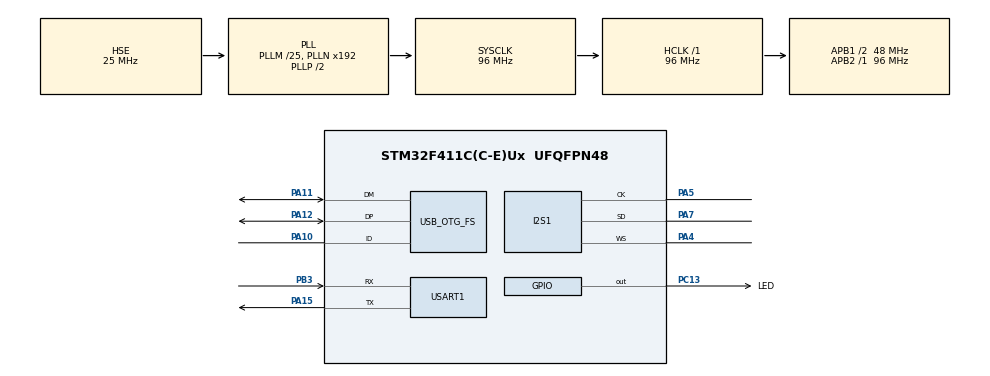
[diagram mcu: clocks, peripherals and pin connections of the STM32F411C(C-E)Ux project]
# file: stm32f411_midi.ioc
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Dma.Request0=SPI1_TX
Dma.SPI1_TX.0.Direction=DMA_MEMORY_TO_PERIPH
Dma.SPI1_TX.0.FIFOMode=DMA_FIFOMODE_ENABLE
Dma.SPI1_TX.0.FIFOThreshold=DMA_FIFO_THRESHOLD_FULL
Dma.SPI1_TX.0.Instance=DMA2_Stream2
Dma.SPI1_TX.0.MemBurst=DMA_MBURST_SINGLE
Dma.SPI1_TX.0.MemDataAlignment=DMA_MDATAALIGN_HALFWORD
Dma.SPI1_TX.0.MemInc=DMA_MINC_ENABLE
Dma.SPI1_TX.0.Mode=DMA_CIRCULAR
Dma.SPI1_TX.0.PeriphBurst=DMA_PBURST_SINGLE
Dma.SPI1_TX.0.PeriphDataAlignment=DMA_PDATAALIGN_HALFWORD
Dma.SPI1_TX.0.PeriphInc=DMA_PINC_DISABLE
Dma.SPI1_TX.0.Priority=DMA_PRIORITY_LOW
I2S1.AudioFreq=I2S_AUDIOFREQ_22K
I2S1.ErrorAudioFreq=0.03 %
I2S1.FullDuplexMode=I2S_FULLDUPLEXMODE_DISABLE
I2S1.Instance=SPI$Index
I2S1.RealAudioFreq=22.007 KHz
I2S1.VirtualMode=I2S_MODE_MASTER
Mcu.Family=STM32F4
Mcu.Name=STM32F411C(C-E)Ux
Mcu.Package=UFQFPN48
NVIC.DMA2_Stream2_IRQn=true\:0\:0\:false\:false\:true\:false\:true\:true
NVIC.PriorityGroup=NVIC_PRIORITYGROUP_4
PA10.Mode=OTG/Dual_Role_Device
PA10.Signal=USB_OTG_FS_ID
PA11.Mode=OTG/Dual_Role_Device
PA11.Signal=USB_OTG_FS_DM
PA12.Mode=OTG/Dual_Role_Device
PA12.Signal=USB_OTG_FS_DP
PA13.Mode=Serial_Wire
PA13.Signal=SYS_JTMS-SWDIO
PA14.Mode=Serial_Wire
PA14.Signal=SYS_JTCK-SWCLK
PA15.Mode=Asynchronous
PA15.Signal=USART1_TX
PA4.Mode=Half_Duplex_Master
PA4.Signal=I2S1_WS
PA5.Mode=Half_Duplex_Master
PA5.Signal=I2S1_CK
PA7.Mode=Half_Duplex_Master
PA7.Signal=I2S1_SD
PB3.Mode=Asynchronous
PB3.Signal=USART1_RX
PC13-ANTI_TAMP.GPIO_Label=LED
PC13-ANTI_TAMP.GPIO_ModeDefaultOutputPP=GPIO_MODE_OUTPUT_OD
PC13-ANTI_TAMP.GPIO_PuPd=GPIO_NOPULL
PC13-ANTI_TAMP.Signal=GPIO_Output
PC14-OSC32_IN.Mode=LSE-External-Oscillator
PC14-OSC32_IN.Signal=RCC_OSC32_IN
PC15-OSC32_OUT.Mode=LSE-External-Oscillator
PC15-OSC32_OUT.Signal=RCC_OSC32_OUT
PH0\ -\ OSC_IN.Mode=HSE-External-Oscillator
PH0\ -\ OSC_IN.Signal=RCC_OSC_IN
PH1\ -\ OSC_OUT.Mode=HSE-External-Oscillator
PH1\ -\ OSC_OUT.Signal=RCC_OSC_OUT
ProjectManager.HeapSize=0x200
ProjectManager.StackSize=0x400
ProjectManager.TargetToolchain=Makefile
RCC.48MHZClocksFreq_Value=48000000
RCC.AHBFreq_Value=96000000
RCC.APB1CLKDivider=RCC_HCLK_DIV2
RCC.APB1Freq_Value=48000000
RCC.APB1TimFreq_Value=96000000
RCC.APB2Freq_Value=96000000
RCC.APB2TimFreq_Value=96000000
RCC.CortexFreq_Value=96000000
RCC.HCLKFreq_Value=96000000
RCC.HSE_VALUE=25000000
RCC.HSI_VALUE=16000000
RCC.PLLM=25
RCC.SYSCLKFreq_VALUE=96000000
RCC.SYSCLKSource=RCC_SYSCLKSOURCE_PLLCLK
RCC.VCOOutputFreq_Value=192000000
USART1.VirtualMode=VM_ASYNC
board=custom

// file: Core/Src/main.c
/* USER CODE BEGIN Header */
/**
  ******************************************************************************
  * @file           : main.c
  * @brief          : Main program body
  ******************************************************************************
  * @attention
  *
  * Copyright (c) 2026 STMicroelectronics.
  * All rights reserved.
  *
  * This software is licensed under terms that can be found in the LICENSE file
  * in the root directory of this software component.
  * If no LICENSE file comes with this software, it is provided AS-IS.
  *
  ******************************************************************************
  */
/* USER CODE END Header */
#include "main.h"

/* USER CODE BEGIN Includes */
#include <stdlib.h>
#include <stdio.h>

//----- USB role switch (USB_MODE_HOST / USB_MODE_DEVICE) is set in
//----- Core/Inc/tusb_config.h, it applies to the whole TinyUSB stack.
#include "tusb.h"
#include "synth.h"
#include "synth_stm32.h"
/* USER CODE END Includes */

/* USER CODE BEGIN PD */
// USB role switch (USB_MODE) is defined in the Includes section above,
// it must appear before tusb.h is included.
/* USER CODE END PD */

I2S_HandleTypeDef hi2s1;
DMA_HandleTypeDef hdma_spi1_tx;

UART_HandleTypeDef huart1;

void SystemClock_Config(void);
static void MX_GPIO_Init(void);
static void MX_DMA_Init(void);
static void MX_USART1_UART_Init(void);
static void MX_USB_OTG_FS_USB_Init(void);
static void MX_I2S1_Init(void);

/* USER CODE BEGIN 0 */
UART_HandleTypeDef huart1;

/* USER CODE BEGIN PV */
//~ void retarget_put_char(char p)
//~ {
	//~ HAL_UART_Transmit(&huart1, (uint8_t*)&p, 1, 0xffffff); // send message via UART
//~ }
#define PTNF_SIZE 0x1000
int8_t circ_buff[PTNF_SIZE];
int c_write = 0;
int c_read  = 0;

uint8_t crsize()
{
	return (c_write+PTNF_SIZE-c_read)&(PTNF_SIZE-1);
}

int  crget(char* r)
{
	if(!crsize()) return 0;
	*r = circ_buff[c_read];
	c_read ++;
	c_read &=(PTNF_SIZE-1);
	return 1;

}

void cr_flush()
{
	char rr;
	while(crsize())
	{
		crget(&rr),HAL_UART_Transmit(&huart1, (uint8_t*)&rr, 1, 0xffffff); // send message via UART
	}
}

void crput(char r)
{
	if(crsize()<0xff)
	{
		circ_buff[c_write] = r;
		c_write++;
		c_write&=(PTNF_SIZE-1);
	}
}

int _write(int fd, char* ptr, int len)
{
    (void)fd;
    int i = 0;
    while (ptr[i] && (i < len))
    {
    	if (ptr[i] == '\r')
    	{

    	}
    	else
    	{
    		crput(ptr[i]);
			//retarget_put_char((int)ptr[i]);
			if (ptr[i] == '\n')
			{
				crput('\r');
				//retarget_put_char((int)'\r');
			}
    	}
        i++;
    }
    return len;
}

/* USER CODE END 0 */

int main(void)
{

  /* MCU Configuration--------------------------------------------------------*/

  /* Reset of all peripherals, Initializes the Flash interface and the Systick. */
  HAL_Init();

  /* Configure the system clock */
  SystemClock_Config();

  /* Initialize all configured peripherals */
  MX_GPIO_Init();
  MX_DMA_Init();
  MX_USART1_UART_Init();
  MX_USB_OTG_FS_USB_Init();
  MX_I2S1_Init();
  /* USER CODE BEGIN 2 */
  int k = 0;
  uint32_t blink_ms = 0;

#if (USB_MODE == USB_MODE_HOST)
  printf("STM32F411 TinyUSB MIDI Host\r\n");
#else
  printf("STM32F411 TinyUSB MIDI Device\r\n");
#endif
  cr_flush();

#if (USB_MODE == USB_MODE_HOST)
  tusb_rhport_init_t usb_init = {
    .role  = TUSB_ROLE_HOST,
    .speed = TUSB_SPEED_AUTO
  };
  tusb_init(CFG_TUH_RHPORT, &usb_init);
#else
  tusb_rhport_init_t usb_init = {
    .role  = TUSB_ROLE_DEVICE,
    .speed = TUSB_SPEED_AUTO
  };
  tusb_init(CFG_TUD_RHPORT, &usb_init);
#endif
  printf("inited ok\n");
 cr_flush();

  synth_init();
  audio_init();
  audio_start();

  /* USER CODE END 2 */

  /* Infinite loop */
  while (1)
  {

    /* USER CODE BEGIN 3 */
#if (USB_MODE == USB_MODE_HOST)
    tuh_task();
#else
    tud_task();
#endif
    cr_flush();

    // non-blocking LED blink every 500ms
    if (tusb_time_millis_api() - blink_ms >= 500) {
      blink_ms += 500;
      k++;
      HAL_GPIO_WritePin(LED_GPIO_Port,LED_Pin,(k&1)?GPIO_PIN_RESET:GPIO_PIN_SET);
    }
  }
  /* USER CODE END 3 */
}

void SystemClock_Config(void)
{
  RCC_OscInitTypeDef RCC_OscInitStruct = {0};
  RCC_ClkInitTypeDef RCC_ClkInitStruct = {0};

  /** Configure the main internal regulator output voltage
  */
  __HAL_RCC_PWR_CLK_ENABLE();
  __HAL_PWR_VOLTAGESCALING_CONFIG(PWR_REGULATOR_VOLTAGE_SCALE1);

  /** Initializes the RCC Oscillators according to the specified parameters
  * in the RCC_OscInitTypeDef structure.
  */
  RCC_OscInitStruct.OscillatorType = RCC_OSCILLATORTYPE_HSE;
  RCC_OscInitStruct.HSEState = RCC_HSE_ON;
  RCC_OscInitStruct.PLL.PLLState = RCC_PLL_ON;
  RCC_OscInitStruct.PLL.PLLSource = RCC_PLLSOURCE_HSE;
  RCC_OscInitStruct.PLL.PLLM = 25;
  RCC_OscInitStruct.PLL.PLLN = 192;
  RCC_OscInitStruct.PLL.PLLP = RCC_PLLP_DIV2;
  RCC_OscInitStruct.PLL.PLLQ = 4;
  if (HAL_RCC_OscConfig(&RCC_OscInitStruct) != HAL_OK)
  {
    Error_Handler();
  }

  /** Initializes the CPU, AHB and APB buses clocks
  */
  RCC_ClkInitStruct.ClockType = RCC_CLOCKTYPE_HCLK|RCC_CLOCKTYPE_SYSCLK
                              |RCC_CLOCKTYPE_PCLK1|RCC_CLOCKTYPE_PCLK2;
  RCC_ClkInitStruct.SYSCLKSource = RCC_SYSCLKSOURCE_PLLCLK;
  RCC_ClkInitStruct.AHBCLKDivider = RCC_SYSCLK_DIV1;
  RCC_ClkInitStruct.APB1CLKDivider = RCC_HCLK_DIV2;
  RCC_ClkInitStruct.APB2CLKDivider = RCC_HCLK_DIV1;

  if (HAL_RCC_ClockConfig(&RCC_ClkInitStruct, FLASH_LATENCY_3) != HAL_OK)
  {
    Error_Handler();
  }
}

static void MX_I2S1_Init(void)
{

  hi2s1.Instance = SPI1;
  hi2s1.Init.Mode = I2S_MODE_MASTER_TX;
  hi2s1.Init.Standard = I2S_STANDARD_PHILIPS;
  hi2s1.Init.DataFormat = I2S_DATAFORMAT_16B;
  hi2s1.Init.MCLKOutput = I2S_MCLKOUTPUT_DISABLE;
  hi2s1.Init.AudioFreq = I2S_AUDIOFREQ_22K;
  hi2s1.Init.CPOL = I2S_CPOL_LOW;
  hi2s1.Init.ClockSource = I2S_CLOCK_PLL;
  hi2s1.Init.FullDuplexMode = I2S_FULLDUPLEXMODE_DISABLE;
  if (HAL_I2S_Init(&hi2s1) != HAL_OK)
  {
    Error_Handler();
  }

}

static void MX_USART1_UART_Init(void)
{

  huart1.Instance = USART1;
  huart1.Init.BaudRate = 115200;
  huart1.Init.WordLength = UART_WORDLENGTH_8B;
  huart1.Init.StopBits = UART_STOPBITS_1;
  huart1.Init.Parity = UART_PARITY_NONE;
  huart1.Init.Mode = UART_MODE_TX_RX;
  huart1.Init.HwFlowCtl = UART_HWCONTROL_NONE;
  huart1.Init.OverSampling = UART_OVERSAMPLING_16;
  if (HAL_UART_Init(&huart1) != HAL_OK)
  {
    Error_Handler();
  }

}

static void MX_USB_OTG_FS_USB_Init(void)
{

  /* USER CODE BEGIN USB_OTG_FS_Init 2 */
  // Enable USB OTG FS peripheral clock, TinyUSB does not enable it itself.
  // OTG_FS on STM32F4 is clocked from PLLQ, which must be 48MHz.
  __HAL_RCC_USB_OTG_FS_CLK_ENABLE();
  /* USER CODE END USB_OTG_FS_Init 2 */

}

static void MX_DMA_Init(void)
{

  /* DMA controller clock enable */
  __HAL_RCC_DMA2_CLK_ENABLE();

  /* DMA interrupt init */
  /* DMA2_Stream2_IRQn interrupt configuration */
  HAL_NVIC_SetPriority(DMA2_Stream2_IRQn, 0, 0);
  HAL_NVIC_EnableIRQ(DMA2_Stream2_IRQn);

}

static void MX_GPIO_Init(void)
{
  GPIO_InitTypeDef GPIO_InitStruct = {0};

  /* GPIO Ports Clock Enable */
  __HAL_RCC_GPIOC_CLK_ENABLE();
  __HAL_RCC_GPIOH_CLK_ENABLE();
  __HAL_RCC_GPIOA_CLK_ENABLE();
  __HAL_RCC_GPIOB_CLK_ENABLE();

  /*Configure GPIO pin Output Level */
  HAL_GPIO_WritePin(LED_GPIO_Port, LED_Pin, GPIO_PIN_RESET);

  /*Configure GPIO pin : LED_Pin */
  GPIO_InitStruct.Pin = LED_Pin;
  GPIO_InitStruct.Mode = GPIO_MODE_OUTPUT_OD;
  GPIO_InitStruct.Pull = GPIO_NOPULL;
  GPIO_InitStruct.Speed = GPIO_SPEED_FREQ_LOW;
  HAL_GPIO_Init(LED_GPIO_Port, &GPIO_InitStruct);

  /*Configure GPIO pins : PA10 PA11 PA12 */
  GPIO_InitStruct.Pin = GPIO_PIN_10|GPIO_PIN_11|GPIO_PIN_12;
  GPIO_InitStruct.Mode = GPIO_MODE_AF_PP;
  GPIO_InitStruct.Pull = GPIO_NOPULL;
  GPIO_InitStruct.Speed = GPIO_SPEED_FREQ_VERY_HIGH;
  GPIO_InitStruct.Alternate = GPIO_AF10_OTG_FS;
  HAL_GPIO_Init(GPIOA, &GPIO_InitStruct);

}

/* USER CODE BEGIN 4 */
//----- printf retarget over UART1 -----//
//~ int __io_putchar(int ch) {
  //~ HAL_UART_Transmit(&huart1, (uint8_t *) &ch, 1, HAL_MAX_DELAY);
  //~ return ch;
//~ }

//----- TinyUSB millisecond API (OPT_OS_NONE) -----//
uint32_t tusb_time_millis_api(void) {
  return HAL_GetTick();
}

//----- decode and print a stream of classic MIDI1 bytes -----//
__attribute__((unused))
static void midi_print_bytes(uint8_t cable, const uint8_t *data, uint32_t len) {
  static uint8_t running_status = 0;

  for (uint32_t i = 0; i < len; i++) {
    uint8_t b = data[i];

    if (b & 0x80) {
      // status byte (ignore system real-time for simplicity of running status)
      if (b < 0xF0) {
        running_status = b;
      } else {
        running_status = 0;
      }

      switch (b & 0xF0) {
        case 0x80: // Note Off
          printf("cable %u: Note OFF  ch%u note %u vel %u\r\n", cable, (b & 0x0F) + 1, data[i+1], data[i+2]);
          i += 2;
          break;
        case 0x90: // Note On
          if (data[i+2] == 0) {
            printf("cable %u: Note OFF  ch%u note %u (vel 0)\r\n", cable, (b & 0x0F) + 1, data[i+1]);
          } else {
            printf("cable %u: Note ON   ch%u note %u vel %u\r\n", cable, (b & 0x0F) + 1, data[i+1], data[i+2]);
          }
          i += 2;
          break;
        case 0xA0: // Polyphonic Key Pressure
          printf("cable %u: PolyPressure ch%u note %u val %u\r\n", cable, (b & 0x0F) + 1, data[i+1], data[i+2]);
          i += 2;
          break;
        case 0xB0: // Control Change
          printf("cable %u: CC  ch%u ctrl %u val %u\r\n", cable, (b & 0x0F) + 1, data[i+1], data[i+2]);
          i += 2;
          break;
        case 0xC0: // Program Change
          printf("cable %u: ProgramChange ch%u prog %u\r\n", cable, (b & 0x0F) + 1, data[i+1]);
          i += 1;
          break;
        case 0xD0: // Channel Pressure
          printf("cable %u: ChannelPressure ch%u val %u\r\n", cable, (b & 0x0F) + 1, data[i+1]);
          i += 1;
          break;
        case 0xE0: { // Pitch Bend
          uint16_t pb = (uint16_t) data[i+1] | ((uint16_t) data[i+2] << 7);
          printf("cable %u: PitchBend ch%u val %d\r\n", cable, (b & 0x0F) + 1, (int) pb - 8192);
          i += 2;
          break;
        }
        case 0xF0:
          switch (b) {
            case 0xF0: { // SysEx
              uint32_t j = i + 1;
              printf("cable %u: SysEx:", cable);
              while (j < len && data[j] < 0xF7) {
                printf(" %02X", data[j]);
                j++;
              }
              if (j < len) {
                printf(" F7");
              }
              printf("\r\n");
              i = j;
              break;
            }
            case 0xF1: // MTC Quarter Frame (1 data byte)
              printf("cable %u: MTC quarter frame %02X\r\n", cable, data[i+1]);
              i += 1;
              break;
            case 0xF2: { // Song Position (2 data bytes)
              uint16_t sp = (uint16_t) data[i+1] | ((uint16_t) data[i+2] << 7);
              printf("cable %u: SongPosition %u\r\n", cable, sp);
              i += 2;
              break;
            }
            case 0xF3: // Song Select (1 data byte)
              printf("cable %u: SongSelect %u\r\n", cable, data[i+1]);
              i += 1;
              break;
            case 0xF6: // Tune Request
              printf("cable %u: TuneRequest\r\n", cable);
              break;
            default:   // 0xF7 EOX, 0xF8..0xFF real-time
              printf("cable %u: RT/EOX %02X\r\n", cable, b);
              break;
          }
          break;
        default:
          break;
      }
    } else {
      // data byte without status: use running status
      if (running_status == 0) {
        printf("cable %u: orphan data %02X\r\n", cable, b);
        continue;
      }
      // reprocess as if preceded by its status byte
      uint8_t with_status[3] = { running_status, b, 0 };
      if ((running_status & 0xF0) != 0xC0 && (running_status & 0xF0) != 0xD0 && (running_status & 0xF0) < 0xF0) {
        with_status[2] = data[i+1];
      }
      uint32_t start = i;
      // consume the data byte(s) belonging to this message
      if ((running_status & 0xF0) == 0xC0 || (running_status & 0xF0) == 0xD0) {
        i += 1;
      } else {
        i += 2;
      }
      (void) start;
      midi_print_bytes(cable, with_status, 3);
    }
  }
}

__attribute__((unused))
static uint32_t midi_packet_len(uint8_t cin) {
  switch (cin) {
    case 0x05: // SysEx end, 1 byte
    case 0x0F: // single byte
      return 1;
    case 0x02: // system common, 2 bytes
    case 0x06: // SysEx end, 2 bytes
    case 0x0C: // program change
    case 0x0D: // channel pressure
      return 2;
    default:
      return 3;
  }
}

#if (USB_MODE == USB_MODE_HOST)
//----- TinyUSB Host callbacks -----//
void tuh_midi_mount_cb(uint8_t idx, const tuh_midi_mount_cb_t *mount_cb_data) {
  printf("MIDI device mounted: idx %u, daddr %u, RX cables %u, TX cables %u\r\n",
         idx, mount_cb_data->daddr, mount_cb_data->rx_cable_count, mount_cb_data->tx_cable_count);
}

void tuh_midi_umount_cb(uint8_t idx) {
  printf("MIDI device unmounted: idx %u\r\n", idx);
}

void tuh_midi_rx_cb(uint8_t idx, uint32_t xferred_bytes) {
  (void) xferred_bytes;
  uint8_t packet[4];

  // drain the FIFO one 4-byte USB-MIDI event packet at a time
  while (tuh_midi_packet_read(idx, packet)) {
    usb_midi_receive(packet, sizeof(packet));
    midi_print_bytes((packet[0] >> 4) & 0x0F, packet + 1,
                     midi_packet_len(packet[0] & 0x0F));
  }
}

#else /* USB_MODE == USB_MODE_DEVICE */
//----- TinyUSB Device: MIDI instrument descriptors -----//
enum {
  ITF_NUM_MIDI = 0,
  ITF_NUM_MIDI_STREAMING,
  ITF_NUM_TOTAL
};

enum {
  STRID_LANGID = 0,
  STRID_MANUFACTURER,
  STRID_PRODUCT,
  STRID_SERIAL
};

#define EPNUM_MIDI_OUT  0x01
#define EPNUM_MIDI_IN   0x81

#define CONFIG_TOTAL_LEN  (TUD_CONFIG_DESC_LEN + TUD_MIDI_DESC_LEN)

static tusb_desc_device_t const desc_device = {
    .bLength            = sizeof(tusb_desc_device_t),
    .bDescriptorType    = TUSB_DESC_DEVICE,
    .bcdUSB             = 0x0200,
    .bDeviceClass       = 0x00,
    .bDeviceSubClass    = 0x00,
    .bDeviceProtocol    = 0x00,
    .bMaxPacketSize0    = CFG_TUD_ENDPOINT0_SIZE,
    .idVendor           = 0xCafe,
    .idProduct          = 0x4004,
    .bcdDevice          = 0x0100,
    .iManufacturer      = 0x01,
    .iProduct           = 0x02,
    .iSerialNumber      = 0x03,
    .bNumConfigurations = 0x01
};

uint8_t const * tud_descriptor_device_cb(void) {
  return (uint8_t const *) &desc_device;
}

static uint8_t const desc_fs_configuration[] = {
  // Config number, interface count, string index, total length, attribute, power in mA
  TUD_CONFIG_DESCRIPTOR(1, ITF_NUM_TOTAL, 0, CONFIG_TOTAL_LEN, 0x00, 100),
  // Interface number, string index, EP Out & EP In address, EP size
  TUD_MIDI_DESCRIPTOR(ITF_NUM_MIDI, 0, EPNUM_MIDI_OUT, (0x80 | EPNUM_MIDI_IN), 64)
};

uint8_t const * tud_descriptor_configuration_cb(uint8_t index) {
  (void) index;
  return desc_fs_configuration;
}

static char const *string_desc_arr[] = {
  (const char[]) { 0x09, 0x04 },   // 0: supported language is English (0x0409)
  "STMicroelectronics",            // 1: Manufacturer
  "STM32 MIDI",                    // 2: Product
  "000001",                        // 3: Serial
};

uint16_t const * tud_descriptor_string_cb(uint8_t index, uint16_t langid) {
  (void) langid;
  static uint16_t desc_str[32];
  uint8_t chr_count;

  switch (index) {
    case 0:
      memcpy(&desc_str[1], string_desc_arr[0], 2);
      chr_count = 1;
      break;
    default:
      if (!(index < sizeof(string_desc_arr) / sizeof(string_desc_arr[0]))) {
        return NULL;
      }
      char const *str = string_desc_arr[index];
      chr_count = (uint8_t) strlen(str);
      if (chr_count > 31) chr_count = 31;
      for (uint8_t i = 0; i < chr_count; i++) {
        desc_str[1 + i] = str[i];
      }
      break;
  }

  desc_str[0] = (uint16_t)((TUSB_DESC_STRING << 8) | (2 * chr_count + 2));
  return desc_str;
}

void tud_mount_cb(void) {
  printf("USB mounted\r\n");
}

void tud_umount_cb(void) {
  printf("USB unmounted\r\n");
}

void tud_midi_rx_cb(uint8_t itf) {
  (void) itf;
  uint8_t packet[4];

  // drain the FIFO one 4-byte USB-MIDI event packet at a time
  while (tud_midi_packet_read(packet)) {
    usb_midi_receive(packet, sizeof(packet));
    //midi_print_bytes(0, packet + 1, midi_packet_len(packet[0] & 0x0F));
  }
}
#endif /* USB_MODE */
/* USER CODE END 4 */

void Error_Handler(void)
{
  __disable_irq();
  while (1)
  {
  }
}
